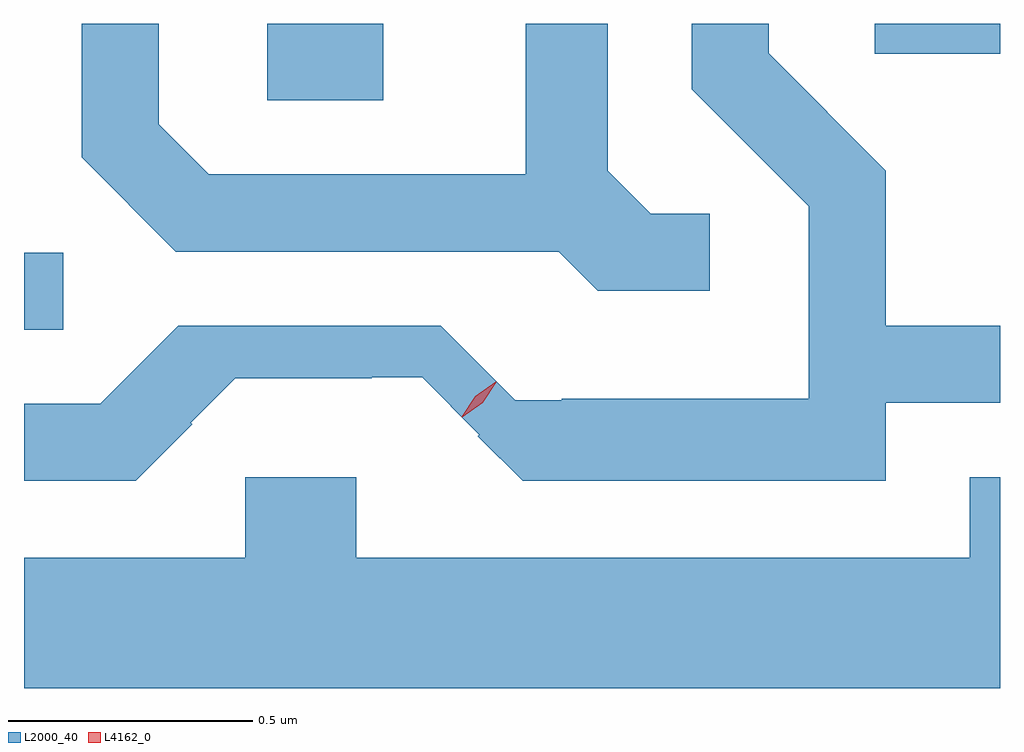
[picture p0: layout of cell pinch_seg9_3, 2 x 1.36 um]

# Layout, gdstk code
import gdstk
lib = gdstk.Library(unit=1e-6, precision=1e-09)
def R(c, l, rs):  # rectangles x0, y0, x1, y1
    for r in rs: c.add(gdstk.rectangle(r[:2], r[2:], *l))
def P(c, l, *ps):  # polygons
    for p in ps: c.add(gdstk.Polygon(p, *l))
L2000_40 = (2000, 40)
L4162_0 = (4162, 0)

pinch_seg9_3 = lib.new_cell('pinch_seg9_3')
R(pinch_seg9_3, L2000_40, [(1909.973,1994.771,1910.053,1994.929), (1910.471,1995.241,1910.709,1995.398), (1911.716,1995.336,1911.973,1995.398)])
P(pinch_seg9_3, L2000_40, [(1910.318,1994.577),(1910.315,1994.58),(1910.406,1994.671),(1910.686,1994.671),(1910.686,1994.673),(1910.789,1994.673),(1910.906,1994.556),(1910.903,1994.553),(1910.995,1994.461),(1911.739,1994.461),(1911.739,1994.621),(1911.973,1994.621),(1911.973,1994.779),(1911.739,1994.779),(1911.739,1995.097),(1911.499,1995.337),(1911.499,1995.398),(1911.341,1995.398),(1911.341,1995.264),(1911.581,1995.024),(1911.581,1994.629),(1911.075,1994.629),(1911.075,1994.626),(1910.98,1994.626),(1910.827,1994.779),(1910.289,1994.779),(1910.129,1994.619),(1909.973,1994.619),(1909.973,1994.461),(1910.202,1994.461)],
  [(1911.378,1995.009),(1911.257,1995.009),(1911.169,1995.097),(1911.169,1995.398),(1911.001,1995.398),(1911.001,1995.089),(1910.352,1995.089),(1910.249,1995.192),(1910.249,1995.398),(1910.091,1995.398),(1910.091,1995.124),(1910.284,1994.931),(1911.069,1994.931),(1911.149,1994.851),(1911.378,1994.851)],
  [(1911.973,1994.469),(1911.911,1994.469),(1911.911,1994.304),(1910.654,1994.304),(1910.654,1994.469),(1910.426,1994.469),(1910.426,1994.304),(1909.973,1994.304),(1909.973,1994.036),(1911.973,1994.036)])
P(pinch_seg9_3, L4162_0, [(1910.87,1994.592),(1910.87,1994.593),(1910.898,1994.635),(1910.94,1994.664),(1910.941,1994.664),(1910.941,1994.663),(1910.913,1994.621),(1910.871,1994.592)],
  [(1910.874,1994.596),(1910.874,1994.597),(1910.898,1994.635),(1910.936,1994.66),(1910.937,1994.66),(1910.937,1994.659),(1910.913,1994.621),(1910.875,1994.596)])

lib.write_gds('pinch_seg9_3.gds')
